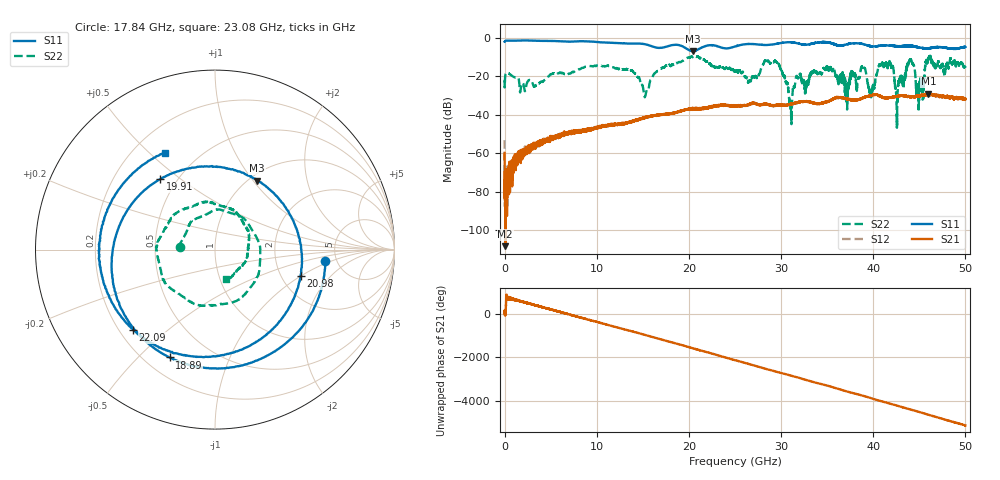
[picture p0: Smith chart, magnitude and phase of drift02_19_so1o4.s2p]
!Created with skrf (http://scikit-rf.org).
# Hz S RI R 50.0
!freq ReS11 ImS11 ReS21 ImS21 ReS12 ImS12 ReS22 ImS22
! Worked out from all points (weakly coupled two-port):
!   10001 points, 300 kHz to 50 GHz, reference 50 ohm
!   highest |S21| = -29.04 dB at 46 GHz (marker M1); lowest = -108.3 dB at 75.3 MHz (marker M2)
!   lowest |S11| = -6.9 dB at 20.4 GHz (marker M3), VSWR 2.64, Z = 54.3 + j52.3 ohm
!   |S11| at or under -10 dB: nowhere
!   |S22| runs from -46.7 to -9.1 dB; largest |S21 - S12| = 0.0035
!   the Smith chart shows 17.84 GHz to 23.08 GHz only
!   S11 on the Smith chart (normalised r, x): 17.84 GHz: 4.06, -0.82; 18.89 GHz: 0.30, -0.62; 19.91 GHz: 0.40, +0.42; 20.98 GHz: 2.54, -1.01; 22.09 GHz: 0.26, -0.39; 23.08 GHz: 0.33, +0.56
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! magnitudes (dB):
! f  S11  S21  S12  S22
! 300 kHz  -2.1  -59.8  -53.1  -21.9
! 75.3 MHz  -1.5  -108.3  -75.4  -19.4
! 8.335 GHz  -1.7  -48.5  -48.5  -15.8
! 15.31 GHz  -3.4  -41.3  -41.0  -29.3
! 16.67 GHz  -5.2  -40.2  -40.0  -16.9
! 17.84 GHz  -4.2  -39.3  -39.6  -14.1
! 18.89 GHz  -3.7  -38.4  -38.4  -12.6
! 19.91 GHz  -6.1  -37.0  -37.0  -10.2
! 20.4 GHz  -6.9  -37.0  -36.6  -10.0
! 20.98 GHz  -6.0  -36.6  -36.8  -9.7
! 22.09 GHz  -3.9  -36.5  -36.4  -12.8
! 23.08 GHz  -4.3  -35.2  -35.2  -15.0
! 25 GHz  -4.5  -35.3  -35.3  -17.4
! 29.5 GHz  -3.1  -35.0  -35.1  -12.6
! 31.03 GHz  -2.3  -34.7  -34.7  -33.9
! 33.34 GHz  -3.0  -33.4  -33.7  -17.9
! 39.74 GHz  -4.3  -30.0  -30.0  -29.2
! 41.67 GHz  -3.9  -31.1  -31.2  -13.3
! 44.16 GHz  -4.1  -30.6  -30.7  -12.2
! 44.86 GHz  -4.9  -29.8  -30.2  -25.8
! 46 GHz  -5.4  -29.0  -29.2  -11.2
! 50 GHz  -4.7  -31.7  -31.4  -15.5
